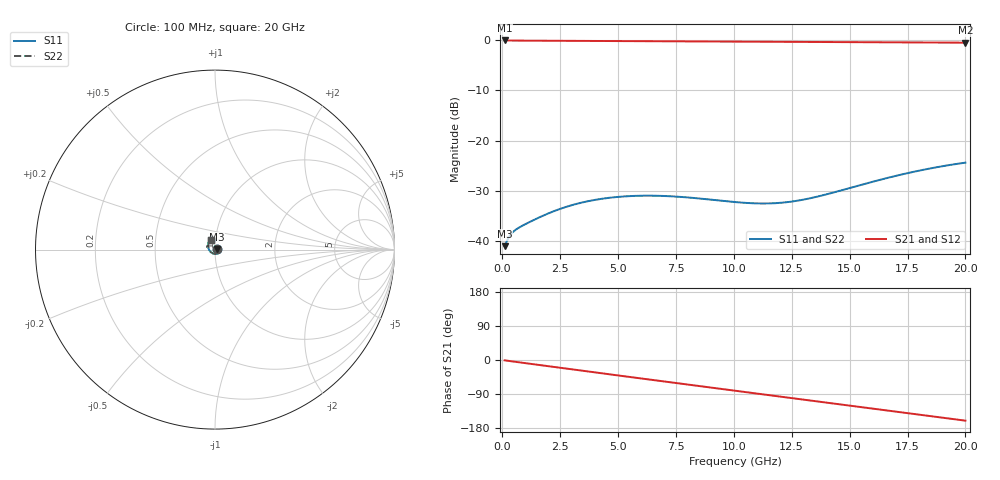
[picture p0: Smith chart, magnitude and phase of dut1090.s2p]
! Touchstone file exported from HFSS 2026.1.0
!  File:  C:/ffzhzh/LocalFiles/Ansys_Project_Files/temp_train_TSV_RDL_1090_1783301760_39728.aedt
!  Generated:  09:44:50 AM Jul  6, 2026
!  Design:  TSV_RDL
!  Project:  temp_train_TSV_RDL_1090_1783301760_39728
! Variables:
!  h_bsmrdl = 4.17um
!  h_ox = 20um
!  h_rdl = 5um
!  h_sub = 91.32um
!  h_tmrdl = 4.86um
!  h_tsv = 91.32um
!  h_via = 3um
!  l_bsmrdl = 282.22um
!  l_sub = 2382.25um
!  l_tmrdl = 253.14um
!  m_sub = 200um
!  pitch = 28.91um
!  r_tsv = 10.66um
!  s_tmrdl = 10um
!  w_bsmrdl = 20.45um
!  w_sub = 500um
!  w_tmrdl = 20.56um
!  x_tsv_center1 = 263.42um
!  x_tsv_center2 = 566.09um
!  x_tsv_center3 = 839.79um
!  x_tsv_center4 = 1142.46um
!  x_tsv_center5 = 1416.16um
!  x_tsv_center6 = 1718.83um
# GHz S MA R 50.000000
! Terminal data exported
! Port[1] = TM_RDL1_1_T1
! Port[2] = TM_RDL5_1_T1
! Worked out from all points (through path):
!   200 points, 100 MHz to 20 GHz, reference 50 ohm
!   highest |S21| = -0.08 dB at 100 MHz (marker M1); lowest = -0.5 dB at 20 GHz (marker M2)
!   group delay of S21, straight-line fit = 22.2 ps
!   lowest |S11| = -41.0 dB at 100 MHz (marker M3), VSWR 1.02, Z = 50.9 + j0.17 ohm
!   |S11| at or under -10 dB: start of sweep to end of sweep
!   |S22| runs from -41.0 to -24.4 dB; largest |S21 - S12| = 1.2e-13
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0.1  0.008932 10.8  0.9913 -0.9  0.9913 -0.9  0.008932 10.8
! Gamma 0 0 0 0
! Port Impedance 50 0 50 0
0.3  0.01113 18.2  0.9896 -2.6  0.9896 -2.6  0.01113 18.2
0.4  0.01195 18.8  0.9889 -3.4  0.9889 -3.4  0.01195 18.8
0.6  0.01311 19.2  0.9881 -5.1  0.9881 -5.1  0.01311 19.2
0.8  0.014 19.7  0.9875 -6.7  0.9875 -6.7  0.014 19.7
2.2  0.01978 19.2  0.9839 -18.1  0.9839 -18.1  0.01978 19.2
2.8  0.02212 15.8  0.9822 -23.0  0.9822 -23.0  0.02211 15.8
3.5  0.02443 10.4  0.98 -28.7  0.98 -28.7  0.02443 10.4
4.2  0.02622 3.9  0.9779 -34.3  0.9779 -34.3  0.02622 3.9
5  0.02759 -4.4  0.9755 -40.7  0.9755 -40.7  0.02758 -4.4
6.8  0.02827 -25.6  0.9705 -55.2  0.9705 -55.2  0.02825 -25.6
7.7  0.02759 -37.8  0.9683 -62.3  0.9683 -62.3  0.02757 -37.8
8.5  0.02662 -49.8  0.9664 -68.7  0.9664 -68.7  0.02659 -49.8
10.1  0.02446 -78.2  0.9628 -81.5  0.9628 -81.5  0.02442 -78.3
11  0.02377 -97.1  0.9609 -88.6  0.9609 -88.6  0.02372 -97.2
11.8  0.0239 -115.1  0.9592 -95.0  0.9592 -95.0  0.02386 -115.3
12.6  0.02499 -133.5  0.9576 -101.4  0.9576 -101.4  0.02495 -133.6
13.4  0.02708 -151.0  0.9559 -107.7  0.9559 -107.7  0.02705 -151.2
15  0.03378 178.5  0.9525 -120.4  0.9525 -120.4  0.03378 178.4
16.7  0.04299 152.8  0.949 -133.9  0.949 -133.9  0.04302 152.7
18.4  0.05251 131.6  0.9455 -147.4  0.9455 -147.4  0.05256 131.5
20  0.06044 114.1  0.9423 -160.1  0.9423 -160.1  0.06051 114.0
